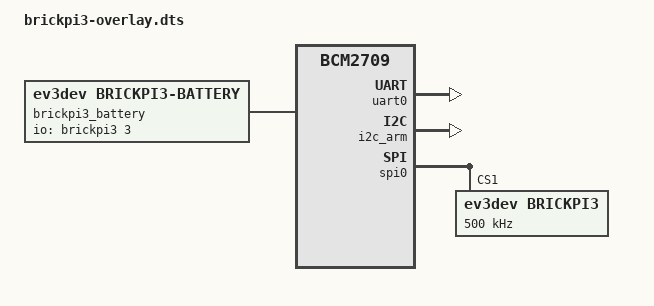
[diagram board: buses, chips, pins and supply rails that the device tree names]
// Definitions for Dexter Industries BrickPi3
// http://www.dexterindustries.com/BrickPi/
/dts-v1/;
/plugin/;

/ {
	compatible = "brcm,bcm2708", "brcm,bcm2709";

	fragment@0 {
		target = <&uart0>;
		__overlay__ {
			status = "okay";
		};
	};

	fragment@1 {
		target = <&i2c_arm>;
		__overlay__ {
			status = "okay";
		};
	};

	fragment@3 {
		target = <&spi0>;
		__overlay__ {
			status = "okay";
			#address-cells = <1>;
			#size-cells = <0>;

			brickpi3: brickpi3@1{
				compatible = "ev3dev,brickpi3";
				reg = <1>;
				spi-max-frequency = <500000>;
				#io-channel-cells = <1>;
			};
		};
	};

	fragment@4 {
		target = <&spidev1>;
		__overlay__ {
			status = "disabled";
		};
	};

	fragment@5 {
		target-path = "/";
		__overlay__ {
			brickpi3_battery {
				compatible = "ev3dev,brickpi3-battery";
				io-channels = <&brickpi3 3>;
				io-channel-names = "voltage";
			};
		};
	};
};
